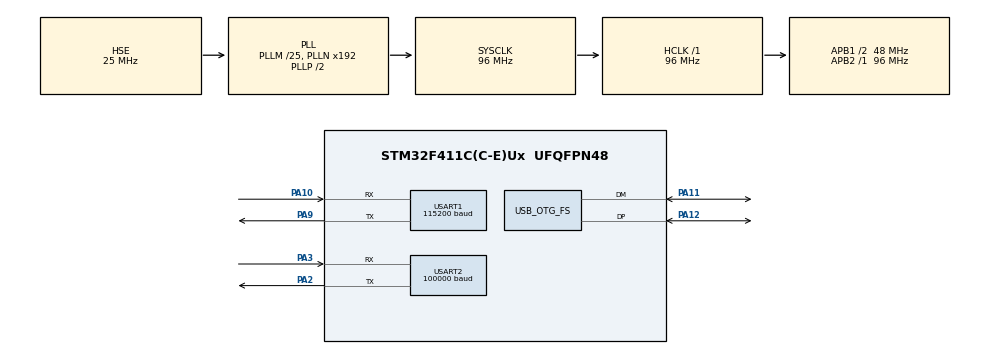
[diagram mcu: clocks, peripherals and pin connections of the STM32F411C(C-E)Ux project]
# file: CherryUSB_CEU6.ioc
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Dma.Request0=USART2_TX
Dma.Request1=USART1_TX
Dma.USART1_TX.1.Direction=DMA_MEMORY_TO_PERIPH
Dma.USART1_TX.1.FIFOMode=DMA_FIFOMODE_DISABLE
Dma.USART1_TX.1.Instance=DMA2_Stream7
Dma.USART1_TX.1.MemDataAlignment=DMA_MDATAALIGN_BYTE
Dma.USART1_TX.1.MemInc=DMA_MINC_ENABLE
Dma.USART1_TX.1.Mode=DMA_NORMAL
Dma.USART1_TX.1.PeriphDataAlignment=DMA_PDATAALIGN_BYTE
Dma.USART1_TX.1.PeriphInc=DMA_PINC_DISABLE
Dma.USART1_TX.1.Priority=DMA_PRIORITY_LOW
Dma.USART2_TX.0.Direction=DMA_MEMORY_TO_PERIPH
Dma.USART2_TX.0.FIFOMode=DMA_FIFOMODE_DISABLE
Dma.USART2_TX.0.Instance=DMA1_Stream6
Dma.USART2_TX.0.MemDataAlignment=DMA_MDATAALIGN_BYTE
Dma.USART2_TX.0.MemInc=DMA_MINC_ENABLE
Dma.USART2_TX.0.Mode=DMA_NORMAL
Dma.USART2_TX.0.PeriphDataAlignment=DMA_PDATAALIGN_BYTE
Dma.USART2_TX.0.PeriphInc=DMA_PINC_DISABLE
Dma.USART2_TX.0.Priority=DMA_PRIORITY_LOW
FREERTOS.Tasks01=defaultTask,24,128,StartDefaultTask,Default,NULL,Dynamic,NULL,NULL
Mcu.Family=STM32F4
Mcu.Name=STM32F411C(C-E)Ux
Mcu.Package=UFQFPN48
NVIC.DMA1_Stream6_IRQn=true\:5\:0\:false\:false\:true\:true\:false\:true\:true
NVIC.DMA2_Stream7_IRQn=true\:5\:0\:false\:false\:true\:true\:false\:true\:true
NVIC.PriorityGroup=NVIC_PRIORITYGROUP_4
NVIC.TIM2_IRQn=true\:15\:0\:false\:false\:true\:false\:false\:true\:true
NVIC.TimeBase=TIM2_IRQn
NVIC.TimeBaseIP=TIM2
PA10.Mode=Asynchronous
PA10.Signal=USART1_RX
PA11.Mode=Host_Only
PA11.Signal=USB_OTG_FS_DM
PA12.Mode=Host_Only
PA12.Signal=USB_OTG_FS_DP
PA13.Mode=Serial_Wire
PA13.Signal=SYS_JTMS-SWDIO
PA14.Mode=Serial_Wire
PA14.Signal=SYS_JTCK-SWCLK
PA2.Mode=Asynchronous
PA2.Signal=USART2_TX
PA3.Mode=Asynchronous
PA3.Signal=USART2_RX
PA9.Mode=Asynchronous
PA9.Signal=USART1_TX
PH0\ -\ OSC_IN.Mode=HSE-External-Oscillator
PH0\ -\ OSC_IN.Signal=RCC_OSC_IN
PH1\ -\ OSC_OUT.Mode=HSE-External-Oscillator
PH1\ -\ OSC_OUT.Signal=RCC_OSC_OUT
ProjectManager.HeapSize=0x200
ProjectManager.StackSize=0x400
ProjectManager.TargetToolchain=MDK-ARM V5.32
RCC.AHBFreq_Value=96000000
RCC.APB1CLKDivider=RCC_HCLK_DIV2
RCC.APB1Freq_Value=48000000
RCC.APB1TimFreq_Value=96000000
RCC.APB2Freq_Value=96000000
RCC.APB2TimFreq_Value=96000000
RCC.CortexFreq_Value=96000000
RCC.HCLKFreq_Value=96000000
RCC.HSE_VALUE=25000000
RCC.HSI_VALUE=16000000
RCC.LSE_VALUE=32768
RCC.PLLM=25
RCC.PLLN=192
RCC.PLLP=RCC_PLLP_DIV2
RCC.PLLQ=4
RCC.SYSCLKFreq_VALUE=96000000
RCC.SYSCLKSource=RCC_SYSCLKSOURCE_PLLCLK
RCC.VCOOutputFreq_Value=192000000
USART1.BaudRate=115200
USART1.VirtualMode=VM_ASYNC
USART2.BaudRate=100000
USART2.Parity=PARITY_EVEN
USART2.StopBits=STOPBITS_2
USART2.VirtualMode=VM_ASYNC
USART2.WordLength=WORDLENGTH_9B
USB_OTG_FS.VirtualMode=Host_Only
USB_OTG_FS.phy_itface=HCD_PHY_EMBEDDED
VP_FREERTOS_VS_CMSIS_V2.Mode=CMSIS_V2
VP_SYS_VS_tim2.Mode=TIM2
board=custom

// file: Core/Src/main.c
/* USER CODE BEGIN Header */
/**
  ******************************************************************************
  * @file           : main.c
  * @brief          : Main program body (CherryUSB Host for F411)
  ******************************************************************************
  */
/* USER CODE END Header */
#include "main.h"
#include "cmsis_os.h"

/* USER CODE BEGIN Includes */
#include "usbh_core.h"
#include "usbh_hid.h"
#include "usbh_xbox.h"
#include "app_sbus.h"
#include "app_mapper.h"
#include <stdio.h>
/* USER CODE END Includes */

/* USER CODE BEGIN PTD */
#pragma pack(push, 1)
typedef struct {
    uint8_t header;      // 区分通道的帧头 (例如 0x80 + 通道号)
    int16_t value;       // 数据值
    uint8_t tail;        // 帧尾 (如设定为 0x5A)
} UartChannelFrame_t;
#pragma pack(pop)
/* USER CODE END PTD */

UART_HandleTypeDef huart1;
UART_HandleTypeDef huart2;
DMA_HandleTypeDef hdma_usart1_tx;
DMA_HandleTypeDef hdma_usart2_tx;

HCD_HandleTypeDef hhcd_USB_OTG_FS;

/* Definitions for defaultTask */
osThreadId_t defaultTaskHandle;
const osThreadAttr_t defaultTask_attributes = {
  .name = "defaultTask",
  .stack_size = 128 * 4,
  .priority = (osPriority_t) osPriorityNormal,
};
uint16_t sbus_channels[16];
uint8_t sbus_frame[25];

uint16_t uart_channels[16];
UartChannelFrame_t uart_frames[16];

volatile int8_t mouse_dx = 0, mouse_dy = 0;
/* USER CODE END PV */

void SystemClock_Config(void);
static void MX_GPIO_Init(void);
static void MX_DMA_Init(void);
static void MX_USART1_UART_Init(void);
static void MX_USART2_UART_Init(void);
static void MX_USB_OTG_FS_HCD_Init(void);
void StartDefaultTask(void *argument);

/* USER CODE BEGIN PFP */

/* printf retargeting removed */
/* USER CODE END PFP */

/* USER CODE BEGIN 0 */
/* PUTCHAR_PROTOTYPE removed */

void usbh_hid_keyboard_callback(void *arg, int nbytes)
{
    struct usbh_hid *hid_class = (struct usbh_hid *)arg;
    if (nbytes > 0) {
        // Keyboard data received
    }
    usbh_submit_urb(&hid_class->intin_urb);
}

void usbh_hid_mouse_callback(void *arg, int nbytes)
{
    struct usbh_hid *hid_class = (struct usbh_hid *)arg;
    if (nbytes > 0) {
        uint8_t *buf = hid_class->intin_urb.transfer_buffer;
        mouse_dx = (int8_t)buf[1];
        mouse_dy = (int8_t)buf[2];
    }
    usbh_submit_urb(&hid_class->intin_urb);
}

void usbh_xbox_callback(void *arg, int nbytes)
{
    struct usbh_xbox *xbox_class = (struct usbh_xbox *)arg;
    if (nbytes > 0) {
        uint8_t *buf = xbox_class->intin_urb.transfer_buffer;
        if(buf[0] == 0x00 && nbytes >= 14) {
            GamepadState_t pad = {0};

            // Byte 2
            pad.buttons[GAMEPAD_BTN_DUP]    = buf[2] & 0x01;
            pad.buttons[GAMEPAD_BTN_DDOWN]  = buf[2] & 0x02;
            pad.buttons[GAMEPAD_BTN_DLEFT]  = buf[2] & 0x04;
            pad.buttons[GAMEPAD_BTN_DRIGHT] = buf[2] & 0x08;
            pad.buttons[GAMEPAD_BTN_START]  = buf[2] & 0x10;
            pad.buttons[GAMEPAD_BTN_BACK]   = buf[2] & 0x20;
            pad.buttons[GAMEPAD_BTN_L3]     = buf[2] & 0x40;
            pad.buttons[GAMEPAD_BTN_R3]     = buf[2] & 0x80;

            // Byte 3
            pad.buttons[GAMEPAD_BTN_LB]     = buf[3] & 0x01;
            pad.buttons[GAMEPAD_BTN_RB]     = buf[3] & 0x02;
            pad.buttons[GAMEPAD_BTN_XBOX]   = buf[3] & 0x04;
            pad.buttons[GAMEPAD_BTN_A]      = buf[3] & 0x10;
            pad.buttons[GAMEPAD_BTN_B]      = buf[3] & 0x20;
            pad.buttons[GAMEPAD_BTN_X]      = buf[3] & 0x40;
            pad.buttons[GAMEPAD_BTN_Y]      = buf[3] & 0x80;

            // Triggers (Map 8-bit 0~255 to full 16-bit range roughly)
            pad.axes[GAMEPAD_AXIS_LT] = (int16_t)(buf[4] * 257) - 32768;
            pad.axes[GAMEPAD_AXIS_RT] = (int16_t)(buf[5] * 257) - 32768;

            // Sticks (Native 16-bit)
            pad.axes[GAMEPAD_AXIS_LX] = (int16_t)((buf[7] << 8) | buf[6]);
            pad.axes[GAMEPAD_AXIS_LY] = (int16_t)((buf[9] << 8) | buf[8]);
            pad.axes[GAMEPAD_AXIS_RX] = (int16_t)((buf[11] << 8) | buf[10]);
            pad.axes[GAMEPAD_AXIS_RY] = (int16_t)((buf[13] << 8) | buf[12]);

            Mapper_UpdateState(&pad);
        }
    }
    usbh_submit_urb(&xbox_class->intin_urb);
}
/* USER CODE END 0 */

int main(void)
{

  /* MCU Configuration--------------------------------------------------------*/

  /* Reset of all peripherals, Initializes the Flash interface and the Systick. */
  HAL_Init();

  /* Configure the system clock */
  SystemClock_Config();

  /* Initialize all configured peripherals */
  MX_GPIO_Init();
  MX_DMA_Init();
  MX_USART1_UART_Init();
  MX_USART2_UART_Init();
  MX_USB_OTG_FS_HCD_Init();
  /* USER CODE BEGIN 2 */

  for(int i=0; i<16; i++) sbus_channels[i] = 1024;

  usbh_initialize(0, USB_OTG_FS_PERIPH_BASE, NULL);
  /* USER CODE END 2 */

  /* Init scheduler */
  osKernelInitialize();

  /* Create the thread(s) */
  /* creation of defaultTask */
  defaultTaskHandle = osThreadNew(StartDefaultTask, NULL, &defaultTask_attributes);

  /* Start scheduler */
  osKernelStart();

  /* We should never get here as control is now taken by the scheduler */

  /* Infinite loop */
  while (1)
  {

  }
}

void SystemClock_Config(void)
{
  RCC_OscInitTypeDef RCC_OscInitStruct = {0};
  RCC_ClkInitTypeDef RCC_ClkInitStruct = {0};

  /** Configure the main internal regulator output voltage
  */
  __HAL_RCC_PWR_CLK_ENABLE();
  __HAL_PWR_VOLTAGESCALING_CONFIG(PWR_REGULATOR_VOLTAGE_SCALE1);

  /** Initializes the RCC Oscillators according to the specified parameters
  * in the RCC_OscInitTypeDef structure.
  */
  RCC_OscInitStruct.OscillatorType = RCC_OSCILLATORTYPE_HSE;
  RCC_OscInitStruct.HSEState = RCC_HSE_ON;
  RCC_OscInitStruct.PLL.PLLState = RCC_PLL_ON;
  RCC_OscInitStruct.PLL.PLLSource = RCC_PLLSOURCE_HSE;
  RCC_OscInitStruct.PLL.PLLM = 25;
  RCC_OscInitStruct.PLL.PLLN = 192;
  RCC_OscInitStruct.PLL.PLLP = RCC_PLLP_DIV2;
  RCC_OscInitStruct.PLL.PLLQ = 4;
  if (HAL_RCC_OscConfig(&RCC_OscInitStruct) != HAL_OK)
  {
    Error_Handler();
  }

  /** Initializes the CPU, AHB and APB buses clocks
  */
  RCC_ClkInitStruct.ClockType = RCC_CLOCKTYPE_HCLK|RCC_CLOCKTYPE_SYSCLK
                              |RCC_CLOCKTYPE_PCLK1|RCC_CLOCKTYPE_PCLK2;
  RCC_ClkInitStruct.SYSCLKSource = RCC_SYSCLKSOURCE_PLLCLK;
  RCC_ClkInitStruct.AHBCLKDivider = RCC_SYSCLK_DIV1;
  RCC_ClkInitStruct.APB1CLKDivider = RCC_HCLK_DIV2;
  RCC_ClkInitStruct.APB2CLKDivider = RCC_HCLK_DIV1;

  if (HAL_RCC_ClockConfig(&RCC_ClkInitStruct, FLASH_LATENCY_3) != HAL_OK)
  {
    Error_Handler();
  }
}

static void MX_USART1_UART_Init(void)
{

  huart1.Instance = USART1;
  huart1.Init.BaudRate = 115200;
  huart1.Init.WordLength = UART_WORDLENGTH_8B;
  huart1.Init.StopBits = UART_STOPBITS_1;
  huart1.Init.Parity = UART_PARITY_NONE;
  huart1.Init.Mode = UART_MODE_TX_RX;
  huart1.Init.HwFlowCtl = UART_HWCONTROL_NONE;
  huart1.Init.OverSampling = UART_OVERSAMPLING_16;
  if (HAL_UART_Init(&huart1) != HAL_OK)
  {
    Error_Handler();
  }

}

static void MX_USART2_UART_Init(void)
{

  huart2.Instance = USART2;
  huart2.Init.BaudRate = 100000;
  huart2.Init.WordLength = UART_WORDLENGTH_9B;
  huart2.Init.StopBits = UART_STOPBITS_2;
  huart2.Init.Parity = UART_PARITY_EVEN;
  huart2.Init.Mode = UART_MODE_TX_RX;
  huart2.Init.HwFlowCtl = UART_HWCONTROL_NONE;
  huart2.Init.OverSampling = UART_OVERSAMPLING_16;
  if (HAL_UART_Init(&huart2) != HAL_OK)
  {
    Error_Handler();
  }

}

static void MX_USB_OTG_FS_HCD_Init(void)
{

  hhcd_USB_OTG_FS.Instance = USB_OTG_FS;
  hhcd_USB_OTG_FS.Init.Host_channels = 8;
  hhcd_USB_OTG_FS.Init.speed = HCD_SPEED_FULL;
  hhcd_USB_OTG_FS.Init.dma_enable = DISABLE;
  hhcd_USB_OTG_FS.Init.phy_itface = HCD_PHY_EMBEDDED;
  hhcd_USB_OTG_FS.Init.Sof_enable = DISABLE;
  if (HAL_HCD_Init(&hhcd_USB_OTG_FS) != HAL_OK)
  {
    Error_Handler();
  }

}

static void MX_DMA_Init(void)
{

  /* DMA controller clock enable */
  __HAL_RCC_DMA1_CLK_ENABLE();
  __HAL_RCC_DMA2_CLK_ENABLE();

  /* DMA interrupt init */
  /* DMA1_Stream6_IRQn interrupt configuration */
  HAL_NVIC_SetPriority(DMA1_Stream6_IRQn, 5, 0);
  HAL_NVIC_EnableIRQ(DMA1_Stream6_IRQn);
  /* DMA2_Stream7_IRQn interrupt configuration */
  HAL_NVIC_SetPriority(DMA2_Stream7_IRQn, 5, 0);
  HAL_NVIC_EnableIRQ(DMA2_Stream7_IRQn);

}

static void MX_GPIO_Init(void)
{

  /* GPIO Ports Clock Enable */
  __HAL_RCC_GPIOH_CLK_ENABLE();
  __HAL_RCC_GPIOA_CLK_ENABLE();

}

void StartDefaultTask(void *argument)
{
  /* USER CODE BEGIN 5 */
  /* Infinite loop */
  for(;;)
  {
    // 1. SBUS 数据处理与发送
    Mapper_GetSbusByMode(sbus_channels);
    sbus_build_frame(sbus_frame, sbus_channels);
    HAL_UART_Transmit_DMA(&huart2, sbus_frame, 25); // Output SBUS (DMA)

    // 2. 纯结构体数据处理与普通串口发送
    Mapper_GetUartChannels(uart_channels);
    for (int i = 0; i < 16; i++) {
        uart_frames[i].header = 0x80 + i; // 帧头区分，0x80 代表 CH0, 0x8F 代表 CH15
        uart_frames[i].value = (int16_t)uart_channels[i];
        uart_frames[i].tail = 0x5A;       // 固定帧尾
    }
    HAL_UART_Transmit_DMA(&huart1, (uint8_t*)uart_frames, sizeof(uart_frames)); // 纯代码结构体发包

    osDelay(10); // 10ms loop
  }
  /* USER CODE END 5 */
}

void HAL_TIM_PeriodElapsedCallback(TIM_HandleTypeDef *htim)
{
  if (htim->Instance == TIM2)
  {
    HAL_IncTick();
  }
}

void Error_Handler(void)
{
  __disable_irq();
  while (1)
  {
  }
}
